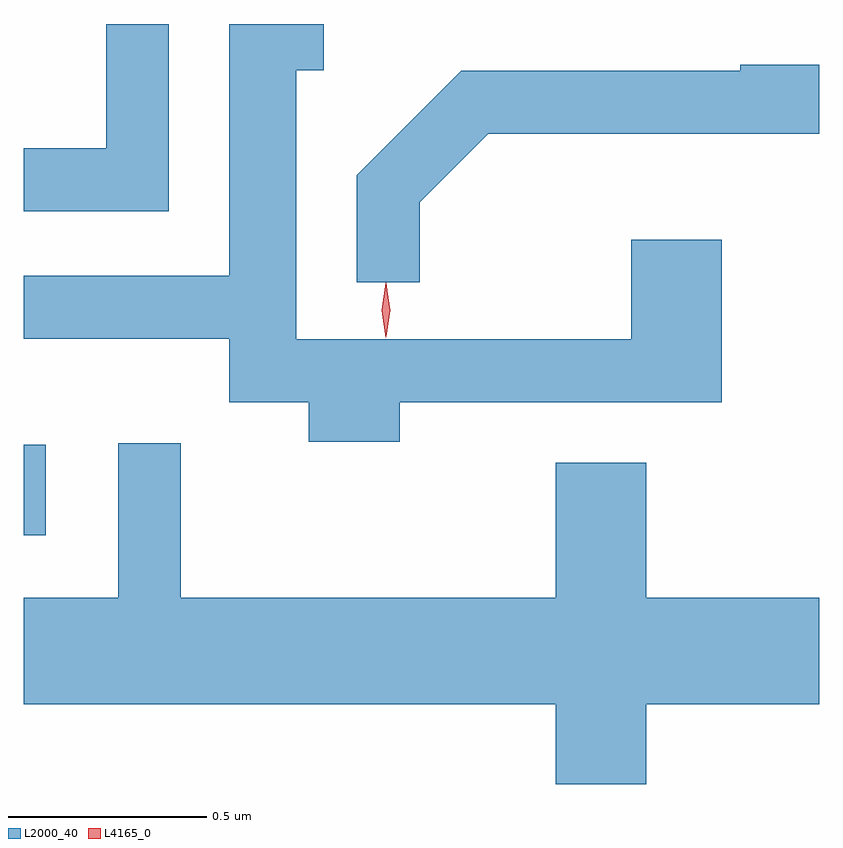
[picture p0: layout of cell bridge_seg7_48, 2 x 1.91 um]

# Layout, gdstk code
import gdstk
lib = gdstk.Library(unit=1e-6, precision=1e-09)
def R(c, l, rs):  # rectangles x0, y0, x1, y1
    for r in rs: c.add(gdstk.rectangle(r[:2], r[2:], *l))
def P(c, l, *ps):  # polygons
    for p in ps: c.add(gdstk.Polygon(p, *l))
L2000_40 = (2000, 40)
L4165_0 = (4165, 0)

bridge_seg7_48 = lib.new_cell('bridge_seg7_48')
R(bridge_seg7_48, L2000_40, [(1569.294,1774.681,1569.349,1774.909)])
P(bridge_seg7_48, L2000_40, [(1570.239,1775.016),(1571.049,1775.016),(1571.049,1775.424),(1570.821,1775.424),(1570.821,1775.174),(1569.979,1775.174),(1569.979,1775.851),(1570.048,1775.851),(1570.048,1775.967),(1569.811,1775.967),(1569.811,1775.334),(1569.294,1775.334),(1569.294,1775.176),(1569.811,1775.176),(1569.811,1775.016),(1570.011,1775.016),(1570.011,1774.916),(1570.239,1774.916)],
  [(1569.659,1775.967),(1569.501,1775.967),(1569.501,1775.654),(1569.294,1775.654),(1569.294,1775.496),(1569.659,1775.496)],
  [(1570.289,1775.519),(1570.462,1775.691),(1571.294,1775.691),(1571.294,1775.864),(1571.095,1775.864),(1571.095,1775.849),(1570.394,1775.849),(1570.131,1775.587),(1570.131,1775.318),(1570.289,1775.318)],
  [(1570.859,1774.256),(1571.294,1774.256),(1571.294,1774.524),(1570.859,1774.524),(1570.859,1774.864),(1570.631,1774.864),(1570.631,1774.524),(1569.689,1774.524),(1569.689,1774.913),(1569.531,1774.913),(1569.531,1774.524),(1569.294,1774.524),(1569.294,1774.256),(1570.631,1774.256),(1570.631,1774.056),(1570.859,1774.056)])
P(bridge_seg7_48, L4165_0, [(1570.204,1775.178),(1570.204,1775.178),(1570.194,1775.247),(1570.204,1775.316),(1570.204,1775.317),(1570.205,1775.316),(1570.214,1775.247),(1570.204,1775.178)],
  [(1570.204,1775.18),(1570.204,1775.18),(1570.195,1775.247),(1570.204,1775.313),(1570.205,1775.313),(1570.205,1775.313),(1570.215,1775.247),(1570.205,1775.18)])

lib.write_gds('bridge_seg7_48.gds')
